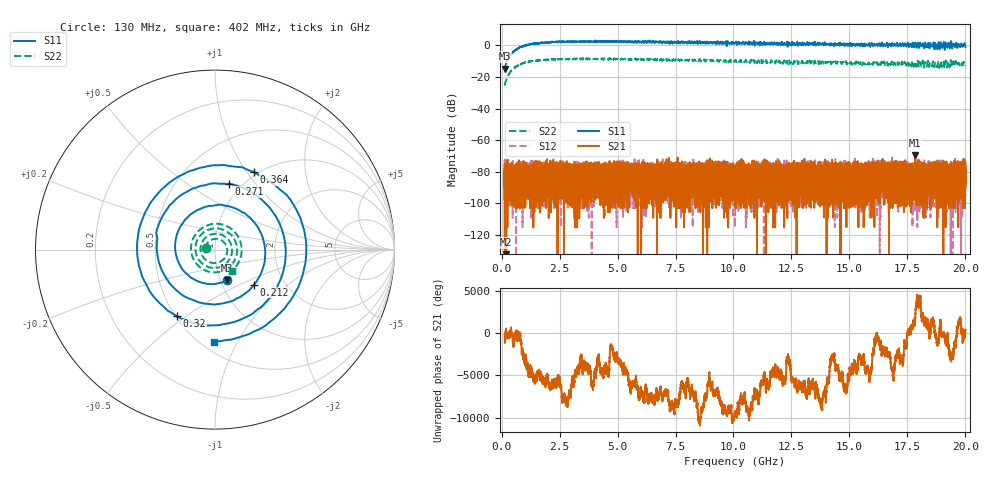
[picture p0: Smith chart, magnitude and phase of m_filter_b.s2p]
!Created with skrf (http://scikit-rf.org).
# GHz S RI R 50.0
!freq ReS11 ImS11 ReS21 ImS21 ReS12 ImS12 ReS22 ImS22
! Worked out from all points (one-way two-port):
!   20013 points, 130 MHz to 20 GHz, reference 50 ohm
!   highest |S21| = -69.40 dB at 17.84 GHz (marker M1); lowest = -178.6 dB at 201 MHz (marker M2)
!   lowest |S11| = -14.7 dB at 130 MHz (marker M3), VSWR 1.45, Z = 53.4 - j19 ohm
!   |S11| at or under -10 dB: start of sweep to 239.9 MHz
!   |S22| runs from -25.5 to -8.2 dB; largest |S21 - S12| = 0.00046
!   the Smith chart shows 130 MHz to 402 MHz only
!   S11 on the Smith chart (normalised r, x): 130 MHz: 1.07, -0.38; 212 MHz: 1.41, -0.60; 271 MHz: 0.88, +0.75; 320 MHz: 0.51, -0.46; 364 MHz: 0.96, +1.08; 402 MHz: 0.58, -0.80
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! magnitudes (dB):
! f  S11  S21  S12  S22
! 130 MHz  -14.7  -178.6  -88.7  -25.5
! 201 MHz  -11.1  -178.6  -89.8  -21.9
! 212 MHz  -10.7  -86.5  -79.8  -21.5
! 271 MHz  -8.5  -77.8  -72.1  -19.5
! 320 MHz  -7.4  -78.8  -97.0  -18.1
! 364 MHz  -6.3  -91.1  -77.6  -17.1
! 402 MHz  -5.8  -79.8  -78.6  -16.4
! 805 MHz  -1.1  -85.5  -85.5  -11.9
! 1.338 GHz  0.7  -82.1  -87.4  -10.0
! 3.442 GHz  2.7  -82.2  -91.4  -8.5
! 6.754 GHz  1.8  -76.9  -77.0  -9.1
! 10.06 GHz  1.7  -77.6  -85.9  -10.0
! 13.38 GHz  0.5  -90.3  -88.1  -10.3
! 16.69 GHz  0.5  -91.3  -105.4  -11.2
! 17.84 GHz  1.3  -69.4  -78.0  -10.8
! 18.74 GHz  -0.4  -85.4  -74.6  -11.3
! 19.42 GHz  -1.8  -80.4  -84.7  -13.8
! 19.48 GHz  0.8  -78.4  -81.2  -10.2
! 19.53 GHz  -0.3  -88.8  -91.1  -13.4
! 19.71 GHz  -0.6  -84.6  -73.4  -10.9
! 19.91 GHz  -0.1  -81.3  -101.0  -11.1
! 20 GHz  -1.1  -77.2  -87.3  -12.6
